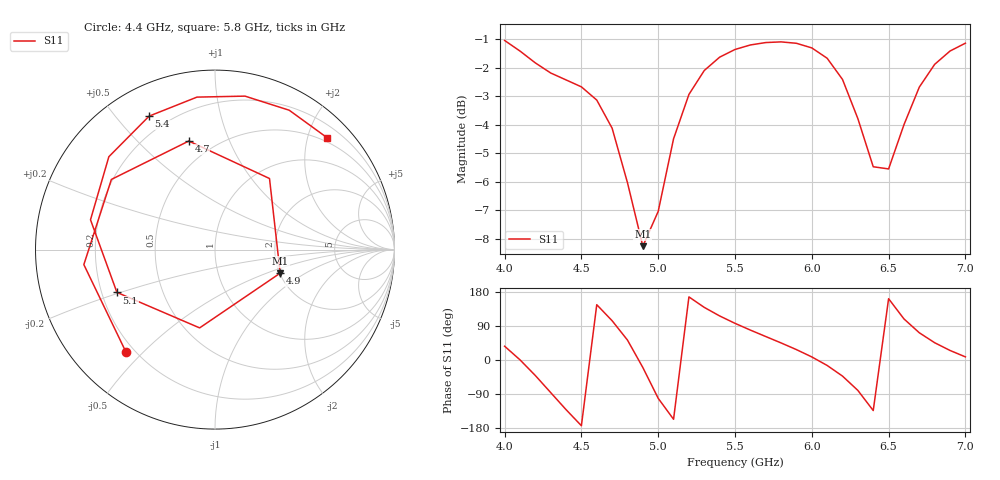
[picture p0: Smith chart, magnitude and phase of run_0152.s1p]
! Touchstone file exported from HFSS 2024.2.0
!  File:  C:/Users/wsak9/Desktop/Sim Fast/Widenad Patch/WP_AI_V1_sweep.aedt
!  Generated:  09:14:58 PM Oct 13, 2026
!  Design:  A1_model
!  Project:  WP_AI_V1_sweep
!  Setup:  Setup1
!  Solution:  Sweep
! Variables:
!  Air_gap = 3.88mm
!  Curve_Amp1 = 3.15
!  Curve_len1 = 1
!  Curve_pos = 12.315mm
!  Extra = 4.47mm
!  H_sub = 0.79mm
!  L_Patch = 20.63mm
!  L_Patch1 = 13.23mm
!  Sx = 2.84mm
!  Sy = 0.85mm
!  WS = 1.26mm
!  W_Patch = 11.45mm
!  W_Patch1 = 8.76mm
!Data is not renormalized
# GHz S MA
! Terminal data exported
! Port[1] = 1
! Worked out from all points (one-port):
!   31 points, 4 GHz to 7 GHz, reference per port
!   lowest |S11| = -8.3 dB at 4.9 GHz (marker M1), VSWR 2.26
!   |S11| at or under -10 dB: nowhere
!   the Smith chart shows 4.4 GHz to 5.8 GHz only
!   S11 on the Smith chart (normalised r, x): 4.4 GHz: 0.17, -0.45; 4.7 GHz: 0.36, +0.72; 4.9 GHz: 2.01, -0.62; 5.1 GHz: 0.26, -0.19; 5.4 GHz: 0.13, +0.61; 5.8 GHz: 0.42, +2.35
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4  0.8873 36.4
4.1  0.8501 0.5
4.2  0.8103 -40.9
4.3  0.7779 -86.0
4.4  0.7564 -131.0
4.5  0.7355 -173.5
4.6  0.6972 145.9
4.7  0.6222 103.6
4.8  0.4991 52.5
4.9  0.3862 -19.9
5  0.4445 -101.1
5.1  0.5962 -156.4
5.2  0.7133 166.5
5.4  0.8293 116.3
5.5  0.8555 96.8
5.6  0.8712 78.9
5.8  0.8822 45.0
5.9  0.8771 27.4
6  0.8609 8.1
6.1  0.8257 -14.4
6.2  0.7578 -42.5
6.3  0.6467 -80.3
6.4  0.5324 -133.4
6.5  0.5278 161.8
6.6  0.631 108.4
6.7  0.7347 71.8
6.8  0.8056 45.6
7  0.8775 8.2
